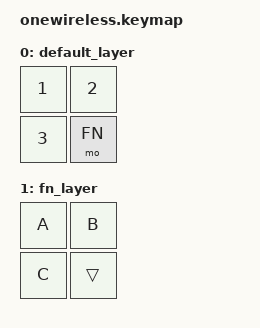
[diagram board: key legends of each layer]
#include <behaviors.dtsi>
#include <dt-bindings/zmk/keys.h>
#include <dt-bindings/zmk/bt.h>

#define DEFAULT 0
#define FN      1

/ {
    keymap {
        compatible = "zmk,keymap";

        default_layer {
            bindings = <
                &kp N1  &kp N2
                &kp N3  &mo FN
            >;
        };

        fn_layer {
            bindings = <
                &kp A  &kp B
                &kp C  &trans
            >;
        };
    };
};
